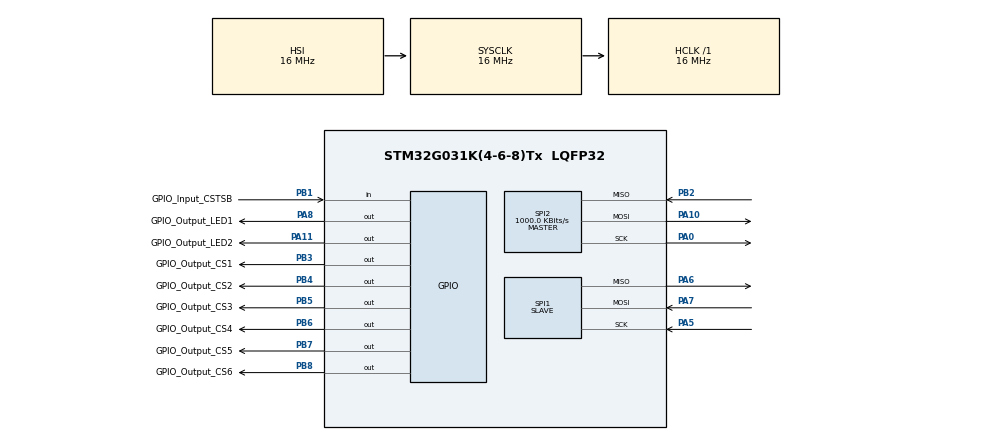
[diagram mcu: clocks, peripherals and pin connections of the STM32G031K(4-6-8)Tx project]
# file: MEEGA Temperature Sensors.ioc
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Mcu.Family=STM32G0
Mcu.Name=STM32G031K(4-6-8)Tx
Mcu.Package=LQFP32
PA0.Mode=Full_Duplex_Master
PA0.Signal=SPI2_SCK
PA10.Mode=Full_Duplex_Master
PA10.Signal=SPI2_MOSI
PA11\ [PA9].GPIO_Label=GPIO_Output_LED2
PA11\ [PA9].Signal=GPIO_Output
PA13.Mode=Serial_Wire
PA13.Signal=SYS_SWDIO
PA14-BOOT0.Mode=Serial_Wire
PA14-BOOT0.Signal=SYS_SWCLK
PA5.Mode=Full_Duplex_Slave
PA5.Signal=SPI1_SCK
PA6.Mode=Full_Duplex_Slave
PA6.Signal=SPI1_MISO
PA7.Mode=Full_Duplex_Slave
PA7.Signal=SPI1_MOSI
PA8.GPIO_Label=GPIO_Output_LED1
PA8.PinState=GPIO_PIN_RESET
PA8.Signal=GPIO_Output
PB1.GPIO_Label=GPIO_Input_CSTSB
PB1.GPIO_PuPd=GPIO_PULLUP
PB1.Signal=GPIO_Input
PB2.Mode=Full_Duplex_Master
PB2.Signal=SPI2_MISO
PB3.GPIO_Label=GPIO_Output_CS1
PB3.GPIO_PuPd=GPIO_PULLUP
PB3.Signal=GPIO_Output
PB4.GPIO_Label=GPIO_Output_CS2
PB4.GPIO_PuPd=GPIO_PULLUP
PB4.Signal=GPIO_Output
PB5.GPIO_Label=GPIO_Output_CS3
PB5.GPIO_PuPd=GPIO_PULLUP
PB5.Signal=GPIO_Output
PB6.GPIO_Label=GPIO_Output_CS4
PB6.GPIO_PuPd=GPIO_PULLUP
PB6.Signal=GPIO_Output
PB7.GPIO_Label=GPIO_Output_CS5
PB7.GPIO_PuPd=GPIO_PULLUP
PB7.Signal=GPIO_Output
PB8.GPIO_Label=GPIO_Output_CS6
PB8.GPIO_PuPd=GPIO_PULLUP
PB8.Signal=GPIO_Output
ProjectManager.HeapSize=0x200
ProjectManager.StackSize=0x400
ProjectManager.TargetToolchain=STM32CubeIDE
RCC.AHBFreq_Value=16000000
RCC.CortexFreq_Value=16000000
RCC.EXTERNAL_CLOCK_VALUE=12288000
RCC.HCLKFreq_Value=16000000
RCC.HSE_VALUE=8000000
RCC.HSI_VALUE=16000000
RCC.LSE_VALUE=32768
RCC.SYSCLKFreq_VALUE=16000000
RCC.VCOOutputFreq_Value=128000000
SPI1.Direction=SPI_DIRECTION_2LINES
SPI1.Mode=SPI_MODE_SLAVE
SPI1.VirtualType=VM_SLAVE
SPI2.BaudRatePrescaler=SPI_BAUDRATEPRESCALER_16
SPI2.CLKPhase=SPI_PHASE_2EDGE
SPI2.CLKPolarity=SPI_POLARITY_HIGH
SPI2.CalculateBaudRate=1000.0 KBits/s
SPI2.Direction=SPI_DIRECTION_2LINES
SPI2.Mode=SPI_MODE_MASTER
SPI2.VirtualType=VM_MASTER
VP_SYS_VS_PIN4REMAP.Mode=PIN4REMAP
board=custom

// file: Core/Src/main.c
/* USER CODE BEGIN Header */
/**
  ******************************************************************************
  * @file           : main.c
  * @brief          : Main program body for Temperature Sensors
  ******************************************************************************
  * @attention
  *
  * Copyright (c) 2025 STMicroelectronics.
  * All rights reserved.
  *
  * This software is licensed under terms that can be found in the LICENSE file
  * in the root directory of this software component.
  * If no LICENSE file comes with this software, it is provided AS-IS.
  *
  ******************************************************************************
  */
/* USER CODE END Header */
#include "main.h"

/* USER CODE BEGIN Includes */
#include <stm32g0xx_hal.h>
#include <stdint.h>
#include <string.h>
/* USER CODE END Includes */

SPI_HandleTypeDef hspi1;
SPI_HandleTypeDef hspi2;

/* USER CODE BEGIN PV */
#define LEDs_PORT GPIOA
#define LED1 GPIO_PIN_8
#define LED2 GPIO_PIN_11

#define CS_RPi_PORT GPIOB
#define CS_RPi_PIN GPIO_PIN_1

#define CS_SENSORS_PORT GPIOB
#define CS_TAcc_PIN GPIO_PIN_3
#define CS_T0_PIN GPIO_PIN_4
#define CS_T1_PIN GPIO_PIN_5
#define CS_T2_PIN GPIO_PIN_6
#define CS_T3_PIN GPIO_PIN_7
#define CS_PT100_PIN GPIO_PIN_8

//CMD from RPi to read sensors data
#define CMD_READ 0xA1
#define CMD_SYNC 0x42

//Transfer length
#define TxPACKET_LENGTH 22 //3 bytes from 24bit ---- CHANGE if needed
/* USER CODE END PV */

void SystemClock_Config(void);
static void MX_GPIO_Init(void);
static void MX_SPI1_Init(void);
static void MX_SPI2_Init(void);
/* USER CODE BEGIN PFP */
uint32_t Sensors24bits(uint8_t high, uint8_t middle, uint8_t low) {
	return ((uint32_t)high << 16) | ((uint32_t)middle << 8) | low;
}

static uint8_t txPacket[TxPACKET_LENGTH];
static uint8_t txLatest[TxPACKET_LENGTH];
//static uint8_t rxCMD[TxPACKET_LENGTH];

//Communication Register
//static uint8_t comCMD = 0x40;
//static uint8_t dataREG = 0x58;

/* USER CODE END PFP */

/* USER CODE BEGIN 0 */
void ADCReset(uint16_t CS_Pin) {
	uint8_t resetCMD[] = {0xFF, 0xFF, 0xFF, 0xFF};
	HAL_GPIO_WritePin(CS_SENSORS_PORT, CS_Pin, GPIO_PIN_RESET);
	HAL_SPI_Transmit(&hspi2, resetCMD, 4, HAL_MAX_DELAY);
	HAL_GPIO_WritePin(CS_SENSORS_PORT, CS_Pin, GPIO_PIN_SET);
	HAL_Delay(10);
}

void ADCConfig(uint16_t CS_Pin, uint8_t AIN_CH, uint8_t GAIN, uint8_t UNIPOLAR, uint8_t WANTS_EXC) {
	uint8_t modeCMD = 0x08;
	uint8_t modeData[2] = {0x00, 0x07};
	uint8_t confCMD = 0x10;
	uint8_t configData[2];

	configData[0] = 0x07; //Gain of 128
	configData[1] = 0x10; //External reference, channel 1

	uint8_t ioCMD = 0x28;
	uint8_t ioData = 0x0A; //Excitation current of 2x210 uA

	switch (GAIN){
	case 1: configData[0] = 0x00;
	break;
	case 2:	configData[0] = 0x01;
	break;
	case 4: configData[0] = 0x02;
	break;
	case 8: configData[0] = 0x03;
	break;
	case 16: configData[0] = 0x04;
	break;
	case 32: configData[0] = 0x05;
	break;
	case 64: configData[0] = 0x06;
	break;
	case 128:
	default: configData[0] = 0x07;
	break;
	}

	if (UNIPOLAR){
		configData[0] |= 0x10;
	}
	if (!WANTS_EXC) {
		configData[1] |= 0x80; //Internal reference
	}
	if (AIN_CH == 1) { //AIN1
		;
	}
	else if (AIN_CH == 2) { //AIN2
		configData[1] |= 0x01;
	}

	HAL_GPIO_WritePin(CS_SENSORS_PORT, CS_Pin, GPIO_PIN_RESET);
	HAL_SPI_Transmit(&hspi2, &modeCMD, 1, HAL_MAX_DELAY);
	HAL_SPI_Transmit(&hspi2, modeData, 2, HAL_MAX_DELAY);
	HAL_GPIO_WritePin(CS_SENSORS_PORT, CS_Pin, GPIO_PIN_SET);

	HAL_GPIO_WritePin(CS_SENSORS_PORT, CS_Pin, GPIO_PIN_RESET);
	HAL_SPI_Transmit(&hspi2, &confCMD, 1, HAL_MAX_DELAY);
	HAL_SPI_Transmit(&hspi2, configData, 2, HAL_MAX_DELAY);
	HAL_GPIO_WritePin(CS_SENSORS_PORT, CS_Pin, GPIO_PIN_SET);

	if (WANTS_EXC){
		HAL_GPIO_WritePin(CS_SENSORS_PORT, CS_Pin, GPIO_PIN_RESET);
		HAL_SPI_Transmit(&hspi2, &ioCMD, 1, HAL_MAX_DELAY);
		HAL_SPI_Transmit(&hspi2, &ioData, 1, HAL_MAX_DELAY);
		HAL_GPIO_WritePin(CS_SENSORS_PORT, CS_Pin, GPIO_PIN_SET);
	}

	HAL_Delay(10);
}

uint8_t ADCRegister(uint16_t CS_Pin) {
	uint8_t comCMD[] = {0x40, 0}; //0b0100_0000 8bit Status Register During a Read Operation Tab.12
	uint8_t statREG[] = {0, 0x80}; //Status Register
	uint32_t timeout = HAL_GetTick() + 5; //7ms Timeout CHANGEABLE
	while ((statREG[1] & 0x80) && HAL_GetTick() < timeout) {	//0x80 mask out for checking SR7 RDY
		HAL_GPIO_WritePin(CS_SENSORS_PORT, CS_Pin, GPIO_PIN_RESET);
		HAL_SPI_Transmit(&hspi2, comCMD, 1, HAL_MAX_DELAY);
		HAL_SPI_Receive(&hspi2, statREG+1, 1, HAL_MAX_DELAY);
		//HAL_SPI_TransmitReceive(&hspi2, comCMD, statREG, 2, HAL_MAX_DELAY);
		HAL_GPIO_WritePin(CS_SENSORS_PORT, CS_Pin, GPIO_PIN_SET);
		HAL_Delay(1);
	}
	if ((statREG[1] & 0x80) == 0) { // RDY = 0 → conversion ready
		if ((statREG[1] & 0x40) == 0 && (statREG[1] & 0x08) == 0x08) { // ERR = 0 → no error
			return 1; // Ready and OK
	    } else {
	    	return 2; // Ready but error
	    }
	}
	return 0;

	//return ((statREG & 0x80) == 0); //RDY = 0 is Ready
}

void createtxPacket(void) {
	uint32_t T_Accumulator_ADC = 0, T0_ADC = 0, T1_ADC = 0, T2_ADC = 0, T3_ADC = 0, PT100_ADC = 0, COLD_JUNCTION = 0;
	uint8_t SensorError = 0; //Error Flag
	uint8_t dataREG[] = {0x58, 0, 0, 0}; //0b0101_1000 Data Register 24bit Tab.12
	uint8_t rxBuf[] = {0, 0, 0, 0};

	//CS1 24bit - Accumulator Thermocouple AD7793 24bit
	if(ADCRegister(CS_TAcc_PIN)==1) {
		HAL_GPIO_WritePin(CS_SENSORS_PORT, CS_TAcc_PIN, GPIO_PIN_RESET);	//CS LOW to start communication pullupR
		HAL_SPI_Transmit(&hspi2, dataREG, 1, HAL_MAX_DELAY);
		HAL_SPI_Receive(&hspi2, rxBuf+1, 3, HAL_MAX_DELAY);	//read data
		//HAL_SPI_TransmitReceive(&hspi2, dataREG, rxBuf, 4, HAL_MAX_DELAY);
		HAL_GPIO_WritePin(CS_SENSORS_PORT, CS_TAcc_PIN, GPIO_PIN_SET);		//CS HIGH to end communication
		T_Accumulator_ADC = Sensors24bits(rxBuf[1], rxBuf[2], rxBuf[3]); //RAW Output
	}
	else SensorError = 1;

	//CS2 24bit - Chamber Thermocouple T0
	if(ADCRegister(CS_T0_PIN)==1) {
		HAL_GPIO_WritePin(CS_SENSORS_PORT, CS_T0_PIN, GPIO_PIN_RESET);
		HAL_SPI_Transmit(&hspi2, dataREG, 1, HAL_MAX_DELAY);
		HAL_SPI_Receive(&hspi2, rxBuf+1, 3, HAL_MAX_DELAY);
		//HAL_SPI_TransmitReceive(&hspi2, dataREG, rxBuf, 4, HAL_MAX_DELAY);
		HAL_GPIO_WritePin(CS_SENSORS_PORT, CS_T0_PIN, GPIO_PIN_SET);
		T0_ADC = Sensors24bits(rxBuf[1], rxBuf[2], rxBuf[3]); //RAW Output
	}
	else SensorError = 1;

	//CS3 24bit - Nozzle Throat Thermocouple T1
	if(ADCRegister(CS_T1_PIN)==1) {
		HAL_GPIO_WritePin(CS_SENSORS_PORT, CS_T1_PIN, GPIO_PIN_RESET);
		HAL_SPI_Transmit(&hspi2, dataREG, 1, HAL_MAX_DELAY);
		HAL_SPI_Receive(&hspi2, rxBuf+1, 3, HAL_MAX_DELAY);
		//HAL_SPI_TransmitReceive(&hspi2, dataREG, rxBuf, 4, HAL_MAX_DELAY);
		HAL_GPIO_WritePin(CS_SENSORS_PORT, CS_T1_PIN, GPIO_PIN_SET);
		T1_ADC = Sensors24bits(rxBuf[1], rxBuf[2], rxBuf[3]); //RAW Output
	}
	else SensorError = 1;

	//CS4 24bit - Nozzle Midspan Thermocouple T2
	if(ADCRegister(CS_T2_PIN)==1) {
		HAL_GPIO_WritePin(CS_SENSORS_PORT, CS_T2_PIN, GPIO_PIN_RESET);
		HAL_SPI_Transmit(&hspi2, dataREG, 1, HAL_MAX_DELAY);
		HAL_SPI_Receive(&hspi2, rxBuf+1, 3, HAL_MAX_DELAY);
		//HAL_SPI_TransmitReceive(&hspi2, dataREG, rxBuf, 4, HAL_MAX_DELAY);
		HAL_GPIO_WritePin(CS_SENSORS_PORT, CS_T2_PIN, GPIO_PIN_SET);
		T2_ADC = Sensors24bits(rxBuf[1], rxBuf[2], rxBuf[3]); //RAW Output
	}
	else SensorError = 1;

	//CS5 24bit - Nozzle Exit Thermocouple T3
	if(ADCRegister(CS_T3_PIN)==1) {
		HAL_GPIO_WritePin(CS_SENSORS_PORT, CS_T3_PIN, GPIO_PIN_RESET);
		HAL_SPI_Transmit(&hspi2, dataREG, 1, HAL_MAX_DELAY);
		HAL_SPI_Receive(&hspi2, rxBuf+1, 3, HAL_MAX_DELAY);
		//HAL_SPI_TransmitReceive(&hspi2, dataREG, rxBuf, 4, HAL_MAX_DELAY);
		HAL_GPIO_WritePin(CS_SENSORS_PORT, CS_T3_PIN, GPIO_PIN_SET);
		T3_ADC = Sensors24bits(rxBuf[1], rxBuf[2], rxBuf[3]);; //RAW Output
	}
	else SensorError = 1;

	//CS6 24bit - PT100 Thermoresistor
	if(ADCRegister(CS_PT100_PIN)==1) {
		HAL_GPIO_WritePin(CS_SENSORS_PORT, CS_PT100_PIN, GPIO_PIN_RESET);
		HAL_SPI_Transmit(&hspi2, dataREG, 1, HAL_MAX_DELAY);
		HAL_SPI_Receive(&hspi2, rxBuf+1, 3, HAL_MAX_DELAY);
		//HAL_SPI_TransmitReceive(&hspi2, dataREG, rxBuf, 4, HAL_MAX_DELAY);
		HAL_GPIO_WritePin(CS_SENSORS_PORT, CS_PT100_PIN, GPIO_PIN_SET);
		PT100_ADC = Sensors24bits(rxBuf[1], rxBuf[2], rxBuf[3]); //RAW Output
	}
	else SensorError = 1;

	/*ADCConfig(CS_T1_PIN,2,2,1,0); //Change Channel and gain for Thermoresistor
	//CS3 24bit - TC1046
	if(ADCRegister(CS_T1_PIN)==1) {
		HAL_GPIO_WritePin(CS_SENSORS_PORT, CS_T1_PIN, GPIO_PIN_RESET);
		HAL_SPI_Transmit(&hspi2, dataREG, 1, HAL_MAX_DELAY);
		HAL_SPI_Receive(&hspi2, rxBuf+1, 3, HAL_MAX_DELAY);
		//HAL_SPI_TransmitReceive(&hspi2, dataREG, rxBuf, 4, HAL_MAX_DELAY);
		HAL_GPIO_WritePin(CS_SENSORS_PORT, CS_T1_PIN, GPIO_PIN_SET);
		COLD_JUNCTION = Sensors24bits(rxBuf[1], rxBuf[2], rxBuf[3]); //RAW Output
	}
	else SensorError = 1;
	ADCConfig(CS_T1_PIN,1,128,0,0);*/

	/*
	if ((T_Accumulator_ADC == 0 || T_Accumulator_ADC == 0xFFFFFF) ||
		(T0_ADC == 0 || T0_ADC == 0xFFFFFF) ||
		(T1_ADC == 0 || T1_ADC == 0xFFFFFF) ||
		(T2_ADC == 0 || T2_ADC == 0xFFFFFF) ||
		(T3_ADC == 0 || T3_ADC == 0xFFFFFF) ||
		(PT100_ADC == 0 || PT100_ADC == 0xFFFFFF)) {
		SensorError = 1;
	}
 	 */

	//Packing
	//TPR280 ADC 24bit
	txPacket[0] = ((T_Accumulator_ADC >> 16) & 0xFF);
	txPacket[1] = ((T_Accumulator_ADC >> 8) & 0xFF);
	txPacket[2] = (T_Accumulator_ADC & 0xFF);
	//PT6494 ADC 24bit
	txPacket[3] = ((T0_ADC >> 16) & 0xFF);
	txPacket[4] = ((T0_ADC >> 8) & 0xFF);
	txPacket[5] = (T0_ADC & 0xFF);
	//MPRLS P0 24bit
	txPacket[6] = ((T1_ADC >> 16) & 0xFF);
	txPacket[7] = ((T1_ADC >> 8) & 0xFF);
	txPacket[8] = (T1_ADC & 0xFF);
	//MPRLS P1 24bit
	txPacket[9] = ((T2_ADC >> 16) & 0xFF);
	txPacket[10] = ((T2_ADC >> 8) & 0xFF);
	txPacket[11] = (T2_ADC & 0xFF);
	//MPRLS P2 24bit
	txPacket[12] = ((T3_ADC >> 16) & 0xFF);
	txPacket[13] = ((T3_ADC >> 8) & 0xFF);
	txPacket[14] = (T3_ADC & 0xFF);
	//MPRLS P3 24bit
	txPacket[15] = ((PT100_ADC >> 16) & 0xFF);
	txPacket[16] = ((PT100_ADC >> 8) & 0xFF);
	txPacket[17] = (PT100_ADC & 0xFF);
	//Cold Junction 24bit
	txPacket[18] = ((COLD_JUNCTION >> 16) & 0xFF);
	txPacket[19] = ((COLD_JUNCTION >> 8) & 0xFF);
	txPacket[20] = (COLD_JUNCTION & 0xFF);

	if (SensorError == 0) {
		txPacket[21] = 1;
		HAL_GPIO_WritePin(LEDs_PORT, LED1, GPIO_PIN_SET);
	}
	else {
		txPacket[21] = 3;
		HAL_GPIO_WritePin(LEDs_PORT, LED1, GPIO_PIN_RESET);
	}
}
/* USER CODE END 0 */

int main(void)
{

  /* MCU Configuration--------------------------------------------------------*/

  /* Reset of all peripherals, Initializes the Flash interface and the Systick. */
  HAL_Init();

  /* Configure the system clock */
  SystemClock_Config();

  /* Initialize all configured peripherals */
  MX_GPIO_Init();
  MX_SPI1_Init();
  MX_SPI2_Init();
  /* USER CODE BEGIN 2 */
  HAL_GPIO_WritePin(CS_SENSORS_PORT, CS_TAcc_PIN | CS_T0_PIN | CS_T1_PIN | CS_T2_PIN | CS_T3_PIN | CS_PT100_PIN, GPIO_PIN_SET);

  /* AD7793 INITIALISATION */

  ADCReset(CS_TAcc_PIN);
  ADCConfig(CS_TAcc_PIN,1,128,0,0);

  ADCReset(CS_T0_PIN);
  ADCConfig(CS_T0_PIN,2,1,1,0);

  ADCReset(CS_T1_PIN);
  ADCConfig(CS_T1_PIN,1,128,0,0);

  ADCReset(CS_T2_PIN);
  ADCConfig(CS_T2_PIN,1,128,0,0);

  ADCReset(CS_T3_PIN);
  ADCConfig(CS_T3_PIN,1,128,0,0);

  ADCReset(CS_PT100_PIN);
  ADCConfig(CS_PT100_PIN,1,16,1,1);

  HAL_Delay(15000);

  /* USER CODE END 2 */

  /* Infinite loop */
  /* USER CODE BEGIN WHILE */
  while (1)
  {
	  HAL_GPIO_TogglePin(LEDs_PORT, LED2);
	  createtxPacket();
	  HAL_Delay(20); //wait 20ms to make LED visibly blink
	  HAL_GPIO_TogglePin(LEDs_PORT, LED2);
	  memcpy(txLatest, txPacket, TxPACKET_LENGTH); //stable data buffer ready to be transmitted

	  HAL_SPI_Transmit(&hspi1, txLatest, TxPACKET_LENGTH, 2000); //HAL_MAX_DELAY
    /* USER CODE END WHILE */

  }
}

void SystemClock_Config(void)
{
  RCC_OscInitTypeDef RCC_OscInitStruct = {0};
  RCC_ClkInitTypeDef RCC_ClkInitStruct = {0};

  /** Configure the main internal regulator output voltage
  */
  HAL_PWREx_ControlVoltageScaling(PWR_REGULATOR_VOLTAGE_SCALE1);

  /** Initializes the RCC Oscillators according to the specified parameters
  * in the RCC_OscInitTypeDef structure.
  */
  RCC_OscInitStruct.OscillatorType = RCC_OSCILLATORTYPE_HSI;
  RCC_OscInitStruct.HSIState = RCC_HSI_ON;
  RCC_OscInitStruct.HSIDiv = RCC_HSI_DIV1;
  RCC_OscInitStruct.HSICalibrationValue = RCC_HSICALIBRATION_DEFAULT;
  RCC_OscInitStruct.PLL.PLLState = RCC_PLL_NONE;
  if (HAL_RCC_OscConfig(&RCC_OscInitStruct) != HAL_OK)
  {
    Error_Handler();
  }

  /** Initializes the CPU, AHB and APB buses clocks
  */
  RCC_ClkInitStruct.ClockType = RCC_CLOCKTYPE_HCLK|RCC_CLOCKTYPE_SYSCLK
                              |RCC_CLOCKTYPE_PCLK1;
  RCC_ClkInitStruct.SYSCLKSource = RCC_SYSCLKSOURCE_HSI;
  RCC_ClkInitStruct.AHBCLKDivider = RCC_SYSCLK_DIV1;
  RCC_ClkInitStruct.APB1CLKDivider = RCC_HCLK_DIV1;

  if (HAL_RCC_ClockConfig(&RCC_ClkInitStruct, FLASH_LATENCY_0) != HAL_OK)
  {
    Error_Handler();
  }
}

static void MX_SPI1_Init(void)
{

  /* SPI1 parameter configuration*/
  hspi1.Instance = SPI1;
  hspi1.Init.Mode = SPI_MODE_SLAVE;
  hspi1.Init.Direction = SPI_DIRECTION_2LINES;
  hspi1.Init.DataSize = SPI_DATASIZE_8BIT;
  hspi1.Init.CLKPolarity = SPI_POLARITY_LOW;
  hspi1.Init.CLKPhase = SPI_PHASE_1EDGE;
  hspi1.Init.NSS = SPI_NSS_SOFT;
  hspi1.Init.FirstBit = SPI_FIRSTBIT_MSB;
  hspi1.Init.TIMode = SPI_TIMODE_DISABLE;
  hspi1.Init.CRCCalculation = SPI_CRCCALCULATION_DISABLE;
  hspi1.Init.CRCPolynomial = 7;
  hspi1.Init.CRCLength = SPI_CRC_LENGTH_DATASIZE;
  hspi1.Init.NSSPMode = SPI_NSS_PULSE_DISABLE;
  if (HAL_SPI_Init(&hspi1) != HAL_OK)
  {
    Error_Handler();
  }

}

static void MX_SPI2_Init(void)
{

  /* SPI2 parameter configuration*/
  hspi2.Instance = SPI2;
  hspi2.Init.Mode = SPI_MODE_MASTER;
  hspi2.Init.Direction = SPI_DIRECTION_2LINES;
  hspi2.Init.DataSize = SPI_DATASIZE_8BIT;
  hspi2.Init.CLKPolarity = SPI_POLARITY_HIGH;
  hspi2.Init.CLKPhase = SPI_PHASE_2EDGE;
  hspi2.Init.NSS = SPI_NSS_SOFT;
  hspi2.Init.BaudRatePrescaler = SPI_BAUDRATEPRESCALER_16;
  hspi2.Init.FirstBit = SPI_FIRSTBIT_MSB;
  hspi2.Init.TIMode = SPI_TIMODE_DISABLE;
  hspi2.Init.CRCCalculation = SPI_CRCCALCULATION_DISABLE;
  hspi2.Init.CRCPolynomial = 7;
  hspi2.Init.CRCLength = SPI_CRC_LENGTH_DATASIZE;
  hspi2.Init.NSSPMode = SPI_NSS_PULSE_ENABLE;
  if (HAL_SPI_Init(&hspi2) != HAL_OK)
  {
    Error_Handler();
  }

}

static void MX_GPIO_Init(void)
{
  GPIO_InitTypeDef GPIO_InitStruct = {0};

  /* GPIO Ports Clock Enable */
  __HAL_RCC_GPIOA_CLK_ENABLE();
  __HAL_RCC_GPIOB_CLK_ENABLE();

  /*Configure GPIO pin Output Level */
  HAL_GPIO_WritePin(GPIOA, GPIO_Output_LED1_Pin|GPIO_Output_LED2_Pin, GPIO_PIN_RESET);

  /*Configure GPIO pin Output Level */
  HAL_GPIO_WritePin(GPIOB, GPIO_Output_CS1_Pin|GPIO_Output_CS2_Pin|GPIO_Output_CS3_Pin|GPIO_Output_CS4_Pin
                          |GPIO_Output_CS5_Pin|GPIO_Output_CS6_Pin, GPIO_PIN_RESET);

  /*Configure GPIO pin : GPIO_Input_CSTSB_Pin */
  GPIO_InitStruct.Pin = GPIO_Input_CSTSB_Pin;
  GPIO_InitStruct.Mode = GPIO_MODE_INPUT;
  GPIO_InitStruct.Pull = GPIO_PULLUP;
  HAL_GPIO_Init(GPIO_Input_CSTSB_GPIO_Port, &GPIO_InitStruct);

  /*Configure GPIO pins : GPIO_Output_LED1_Pin GPIO_Output_LED2_Pin */
  GPIO_InitStruct.Pin = GPIO_Output_LED1_Pin|GPIO_Output_LED2_Pin;
  GPIO_InitStruct.Mode = GPIO_MODE_OUTPUT_PP;
  GPIO_InitStruct.Pull = GPIO_NOPULL;
  GPIO_InitStruct.Speed = GPIO_SPEED_FREQ_LOW;
  HAL_GPIO_Init(GPIOA, &GPIO_InitStruct);

  /*Configure GPIO pins : GPIO_Output_CS1_Pin GPIO_Output_CS2_Pin GPIO_Output_CS3_Pin GPIO_Output_CS4_Pin
                           GPIO_Output_CS5_Pin GPIO_Output_CS6_Pin */
  GPIO_InitStruct.Pin = GPIO_Output_CS1_Pin|GPIO_Output_CS2_Pin|GPIO_Output_CS3_Pin|GPIO_Output_CS4_Pin
                          |GPIO_Output_CS5_Pin|GPIO_Output_CS6_Pin;
  GPIO_InitStruct.Mode = GPIO_MODE_OUTPUT_PP;
  GPIO_InitStruct.Pull = GPIO_PULLUP;
  GPIO_InitStruct.Speed = GPIO_SPEED_FREQ_LOW;
  HAL_GPIO_Init(GPIOB, &GPIO_InitStruct);

}

void Error_Handler(void)
{
  __disable_irq();
  while (1)
  {
  }
}
